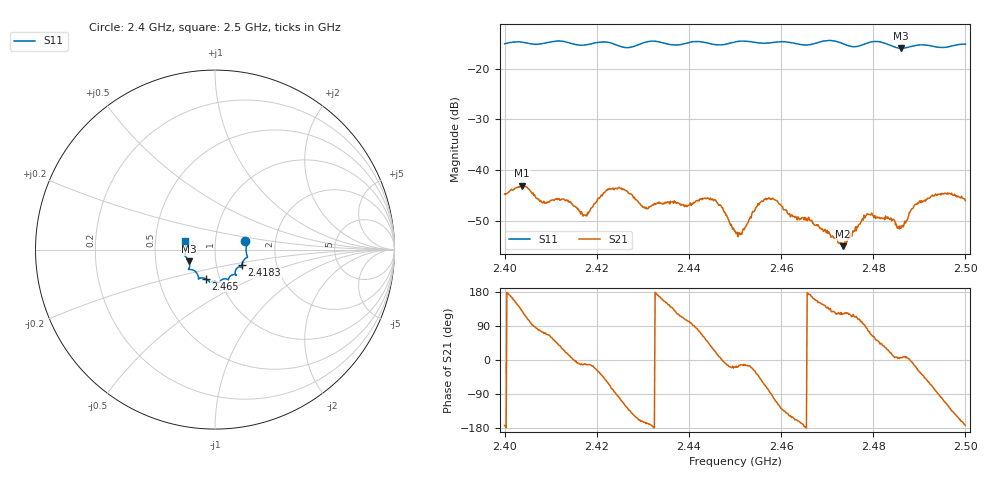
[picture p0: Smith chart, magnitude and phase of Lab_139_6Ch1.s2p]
# Hz S RI R 50
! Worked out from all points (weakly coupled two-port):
!   601 points, 2.4 GHz to 2.5 GHz, reference 50 ohm
!   highest |S21| = -43.00 dB at 2.4038 GHz (marker M1); lowest = -54.9 dB at 2.4735 GHz (marker M2)
!   lowest |S11| = -16.0 dB at 2.486 GHz (marker M3), VSWR 1.38, Z = 37.1 - j4.97 ohm
!   |S11| at or under -10 dB: start of sweep to end of sweep
!   S12 and S22 are empty: the file has one direction only
!   S11 on the Smith chart (normalised r, x): 2.4 GHz: 1.40, +0.13; 2.4183 GHz: 1.33, -0.24; 2.465 GHz: 0.86, -0.29; 2.5 GHz: 0.71, +0.07
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2.4e9  0.169 0.0461  -0.00582 -0.000687  0 0  0 0
2.403833e9  0.1792 0.0282  -0.00446 0.00551  0 0  0 0
2.408167e9  0.1747 -0.018  0.00133 0.00461  0 0  0 0
2.416667e9  0.1551 -0.0683  0.00386 -0.000709  0 0  0 0
2.418333e9  0.1499 -0.0869  0.00385 -0.000788  0 0  0 0
2.423e9  0.1492 -0.0982  0.0022 -0.00618  0 0  0 0
2.426167e9  0.1242 -0.102  -0.00323 -0.00551  0 0  0 0
2.4305e9  0.1151 -0.1396  -0.00407 -0.00113  0 0  0 0
2.433333e9  0.1168 -0.1411  -0.00467 0.00077  0 0  0 0
2.445167e9  0.0604 -0.1625  0.00455 0.00261  0 0  0 0
2.45e9  0.0253 -0.1808  0.00242 -0.000795  0 0  0 0
2.4515e9  0.0218 -0.1848  0.0023 -0.000534  0 0  0 0
2.456833e9  -0.00844 -0.1772  0.00165 -0.00487  0 0  0 0
2.465e9  -0.0528 -0.1621  -0.00325 -0.000269  0 0  0 0
2.466667e9  -0.0712 -0.1576  -0.00316 0.0007  0 0  0 0
2.4735e9  -0.0935 -0.1477  -0.000965 0.00152  0 0  0 0
2.4785e9  -0.1379 -0.1105  0.000345 0.0036  0 0  0 0
2.483333e9  -0.1421 -0.096  0.00305 0.00139  0 0  0 0
2.486e9  -0.1438 -0.0652  0.00268 0.000285  0 0  0 0
2.489167e9  -0.1634 -0.0402  0.00441 -0.00138  0 0  0 0
2.493e9  -0.1642 -0.0192  0.00172 -0.00537  0 0  0 0
2.5e9  -0.1672 0.0472  -0.00499 -0.000658  0 0  0 0
